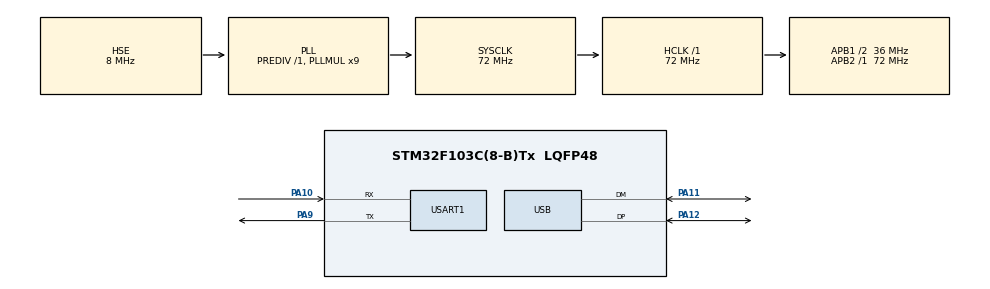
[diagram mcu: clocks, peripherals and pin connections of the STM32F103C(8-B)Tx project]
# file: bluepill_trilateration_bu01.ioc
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FREERTOS.Tasks01=trilat_task,24,256,start_trilat_task,Default,NULL,Dynamic,NULL,NULL;dist_task,24,256,start_dist_task,Default,NULL,Dynamic,NULL,NULL
Mcu.Family=STM32F1
Mcu.Name=STM32F103C(8-B)Tx
Mcu.Package=LQFP48
NVIC.PriorityGroup=NVIC_PRIORITYGROUP_4
NVIC.TIM1_UP_IRQn=true\:15\:0\:false\:false\:true\:false\:false\:true\:true
NVIC.TimeBase=TIM1_UP_IRQn
NVIC.TimeBaseIP=TIM1
NVIC.USART1_IRQn=true\:5\:0\:false\:false\:true\:true\:true\:true\:true
NVIC.USB_LP_CAN1_RX0_IRQn=true\:5\:0\:false\:false\:true\:true\:false\:true\:true
PA10.Mode=Asynchronous
PA10.Signal=USART1_RX
PA11.Mode=Device
PA11.Signal=USB_DM
PA12.Mode=Device
PA12.Signal=USB_DP
PA13.Mode=Serial_Wire
PA13.Signal=SYS_JTMS-SWDIO
PA14.Mode=Serial_Wire
PA14.Signal=SYS_JTCK-SWCLK
PA9.Mode=Asynchronous
PA9.Signal=USART1_TX
PD0-OSC_IN.Mode=HSE-External-Oscillator
PD0-OSC_IN.Signal=RCC_OSC_IN
PD1-OSC_OUT.Mode=HSE-External-Oscillator
PD1-OSC_OUT.Signal=RCC_OSC_OUT
ProjectManager.HeapSize=0x200
ProjectManager.StackSize=0x400
ProjectManager.TargetToolchain=CMake
RCC.AHBFreq_Value=72000000
RCC.APB1CLKDivider=RCC_HCLK_DIV2
RCC.APB1Freq_Value=36000000
RCC.APB1TimFreq_Value=72000000
RCC.APB2Freq_Value=72000000
RCC.APB2TimFreq_Value=72000000
RCC.HCLKFreq_Value=72000000
RCC.PLLMUL=RCC_PLL_MUL9
RCC.PLLSourceVirtual=RCC_PLLSOURCE_HSE
RCC.SYSCLKFreq_VALUE=72000000
RCC.SYSCLKSource=RCC_SYSCLKSOURCE_PLLCLK
RCC.USBFreq_Value=48000000
RCC.USBPrescaler=RCC_USBCLKSOURCE_PLL_DIV1_5
USART1.VirtualMode=VM_ASYNC
USB_DEVICE.CLASS_NAME_FS=CDC
USB_DEVICE.VirtualMode=Cdc
USB_DEVICE.VirtualModeFS=Cdc_FS
VP_FREERTOS_VS_CMSIS_V2.Mode=CMSIS_V2
VP_SYS_VS_tim1.Mode=TIM1
VP_USB_DEVICE_VS_USB_DEVICE_CDC_FS.Mode=CDC_FS
board=custom

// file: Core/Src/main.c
/* USER CODE BEGIN Header */
/**
  ******************************************************************************
  * @file           : main.c
  * @brief          : Main program body
  ******************************************************************************
  * @attention
  *
  * Copyright (c) 2025 STMicroelectronics.
  * All rights reserved.
  *
  * This software is licensed under terms that can be found in the LICENSE file
  * in the root directory of this software component.
  * If no LICENSE file comes with this software, it is provided AS-IS.
  *
  ******************************************************************************
  */
/* USER CODE END Header */
#include "main.h"
#include "cmsis_os.h"
#include "usb_device.h"

/* USER CODE BEGIN Includes */
#include <math.h>
#include "usbd_cdc_if.h"
#include "ring-buff-bg.h"
/* USER CODE END Includes */

/* USER CODE BEGIN PD */
#define RING_BUFF_LEN 50
// Координаты якорей
//       X      Y      Z
// [AN1] 0      0      0
// [AN2] AN2_X  0      0
// [AN1] 0      AN3_Y  0

// Проверочные данные:
// #define AN2_X 100
// #define AN3_Y 100
// double dist[] = {100, 90, 80};
// Результат:
// [x: 59]  [y: 68]  [z: 43]
#define AN2_X 150
#define AN3_Y 150
/* USER CODE END PD */

UART_HandleTypeDef huart1;

/* Definitions for trilat_task */
osThreadId_t trilat_taskHandle;
const osThreadAttr_t trilat_task_attributes = {
  .name = "trilat_task",
  .stack_size = 256 * 4,
  .priority = (osPriority_t) osPriorityNormal,
};
/* Definitions for dist_task */
osThreadId_t dist_taskHandle;
const osThreadAttr_t dist_task_attributes = {
  .name = "dist_task",
  .stack_size = 256 * 4,
  .priority = (osPriority_t) osPriorityNormal,
};
/* USER CODE BEGIN PV */
uint8_t ring_buff_array [RING_BUFF_LEN];
ring_buff_t uart_rx_buff;
int32_t dist[] = {0, 0, 0}; // Расстояние до якорей, максимальный ID: 3

/* USER CODE END PV */

void SystemClock_Config(void);
static void MX_GPIO_Init(void);
static void MX_USART1_UART_Init(void);
void start_trilat_task(void *argument);
void start_dist_task(void *argument);

int main(void)
{

  /* MCU Configuration--------------------------------------------------------*/

  /* Reset of all peripherals, Initializes the Flash interface and the Systick. */
  HAL_Init();

  /* Configure the system clock */
  SystemClock_Config();

  /* Initialize all configured peripherals */
  MX_GPIO_Init();
  MX_USART1_UART_Init();

  /* Init scheduler */
  osKernelInitialize();

  /* Create the thread(s) */
  /* creation of trilat_task */
  trilat_taskHandle = osThreadNew(start_trilat_task, NULL, &trilat_task_attributes);

  /* creation of dist_task */
  dist_taskHandle = osThreadNew(start_dist_task, NULL, &dist_task_attributes);

  /* Start scheduler */
  osKernelStart();

  /* We should never get here as control is now taken by the scheduler */

  /* Infinite loop */
  while (1)
  {

  }
}

void SystemClock_Config(void)
{
  RCC_OscInitTypeDef RCC_OscInitStruct = {0};
  RCC_ClkInitTypeDef RCC_ClkInitStruct = {0};
  RCC_PeriphCLKInitTypeDef PeriphClkInit = {0};

  /** Initializes the RCC Oscillators according to the specified parameters
  * in the RCC_OscInitTypeDef structure.
  */
  RCC_OscInitStruct.OscillatorType = RCC_OSCILLATORTYPE_HSE;
  RCC_OscInitStruct.HSEState = RCC_HSE_ON;
  RCC_OscInitStruct.HSEPredivValue = RCC_HSE_PREDIV_DIV1;
  RCC_OscInitStruct.HSIState = RCC_HSI_ON;
  RCC_OscInitStruct.PLL.PLLState = RCC_PLL_ON;
  RCC_OscInitStruct.PLL.PLLSource = RCC_PLLSOURCE_HSE;
  RCC_OscInitStruct.PLL.PLLMUL = RCC_PLL_MUL9;
  if (HAL_RCC_OscConfig(&RCC_OscInitStruct) != HAL_OK)
  {
    Error_Handler();
  }

  /** Initializes the CPU, AHB and APB buses clocks
  */
  RCC_ClkInitStruct.ClockType = RCC_CLOCKTYPE_HCLK|RCC_CLOCKTYPE_SYSCLK
                              |RCC_CLOCKTYPE_PCLK1|RCC_CLOCKTYPE_PCLK2;
  RCC_ClkInitStruct.SYSCLKSource = RCC_SYSCLKSOURCE_PLLCLK;
  RCC_ClkInitStruct.AHBCLKDivider = RCC_SYSCLK_DIV1;
  RCC_ClkInitStruct.APB1CLKDivider = RCC_HCLK_DIV2;
  RCC_ClkInitStruct.APB2CLKDivider = RCC_HCLK_DIV1;

  if (HAL_RCC_ClockConfig(&RCC_ClkInitStruct, FLASH_LATENCY_2) != HAL_OK)
  {
    Error_Handler();
  }
  PeriphClkInit.PeriphClockSelection = RCC_PERIPHCLK_USB;
  PeriphClkInit.UsbClockSelection = RCC_USBCLKSOURCE_PLL_DIV1_5;
  if (HAL_RCCEx_PeriphCLKConfig(&PeriphClkInit) != HAL_OK)
  {
    Error_Handler();
  }
}

static void MX_USART1_UART_Init(void)
{

  huart1.Instance = USART1;
  huart1.Init.BaudRate = 115200;
  huart1.Init.WordLength = UART_WORDLENGTH_8B;
  huart1.Init.StopBits = UART_STOPBITS_1;
  huart1.Init.Parity = UART_PARITY_NONE;
  huart1.Init.Mode = UART_MODE_TX_RX;
  huart1.Init.HwFlowCtl = UART_HWCONTROL_NONE;
  huart1.Init.OverSampling = UART_OVERSAMPLING_16;
  if (HAL_UART_Init(&huart1) != HAL_OK)
  {
    Error_Handler();
  }

}

static void MX_GPIO_Init(void)
{

  /* GPIO Ports Clock Enable */
  __HAL_RCC_GPIOD_CLK_ENABLE();
  __HAL_RCC_GPIOA_CLK_ENABLE();

}

/* USER CODE BEGIN 4 */
void HAL_UART_RxCpltCallback(UART_HandleTypeDef *huart)
{
  if (huart == &huart1)
  {
    ring_buff_move_head(&uart_rx_buff, 1);
    HAL_UART_Receive_IT(&huart1, &uart_rx_buff.buff[uart_rx_buff.head], 1);
  }
}
/* USER CODE END 4 */

void start_trilat_task(void *argument)
{
  /* init code for USB_DEVICE */
  MX_USB_DEVICE_Init();
  /* USER CODE BEGIN 5 */
  //vTaskDelay(pdMS_TO_TICKS(15000));
  TickType_t loop_period = pdMS_TO_TICKS(1000);
  TickType_t loop_last_time = 0;
  /* Infinite loop */
  for(;;)
  {
    int32_t save_dist[] = {dist[0], dist[1], dist[2]};
    uint8_t usb_tx_buff[RING_BUFF_LEN];
    size_t usb_tx_size = snprintf((char *)usb_tx_buff, RING_BUFF_LEN, "an: %d\n", AN2_X);
    CDC_Transmit_FS(usb_tx_buff, usb_tx_size);
    vTaskDelay(pdMS_TO_TICKS(50));
    // Вывод расстояний
    usb_tx_size = snprintf((char *)usb_tx_buff, RING_BUFF_LEN, "a1:%4d\na2:%4d\na3:%4d\n",
                           save_dist[0], save_dist[1], save_dist[2]);
    CDC_Transmit_FS(usb_tx_buff, usb_tx_size);
    vTaskDelay(pdMS_TO_TICKS(50));
    // Вывод координат
    int32_t coord_x = (int32_t)((double)(save_dist[0] * save_dist[0] - save_dist[1] * save_dist[1] + AN2_X * AN2_X) / (AN2_X * 2));
    int32_t coord_y = (int32_t)((double)(save_dist[0] * save_dist[0] - save_dist[2] * save_dist[2] + AN3_Y * AN3_Y) / (AN3_Y * 2));
    int32_t coord_z = save_dist[0] * save_dist[0] - coord_x * coord_x - coord_y * coord_y;
    if (coord_z < 0) {
      CDC_Transmit_FS((uint8_t *)&"The solution is impossible\n\n", 28);
    } else {
      coord_z = (int32_t)(sqrt((double)coord_z));
      usb_tx_size = snprintf((char *)usb_tx_buff, RING_BUFF_LEN, "[x:%4d] [y:%4d] [z:%4d]\n\n",
                             coord_x, coord_y, coord_z);
      CDC_Transmit_FS(usb_tx_buff, usb_tx_size);
    }
    vTaskDelayUntil(&loop_last_time, loop_period);
  }
  /* USER CODE END 5 */
}

void start_dist_task(void *argument)
{
  /* USER CODE BEGIN start_dist_task */
  ring_buff_init(&uart_rx_buff, ring_buff_array, RING_BUFF_LEN);
  HAL_UART_Receive_IT(&huart1, uart_rx_buff.buff, 1);

  vTaskDelay(pdMS_TO_TICKS(10500));
  // HAL_UART_Transmit(&huart1, (uint8_t *)&"AT+RST\r\n", 8, 500);
  // vTaskDelay(pdMS_TO_TICKS(2000));
  HAL_UART_Transmit(&huart1, (uint8_t *)&"AT+switchdis=1\r\n", 16, 500);

  uint8_t ant_num = 0;
  double ant_dist = 0;

  TickType_t loop_period = pdMS_TO_TICKS(500);
  TickType_t loop_last_time = 0;
  /* Infinite loop */
  for(;;)
  {
    uint8_t one_str_buff[RING_BUFF_LEN];
    // Выделям одну строку
    for (size_t i = 0; i < RING_BUFF_LEN; i++) {
      // Дожидаемся данных
      while (!ring_buff_get(&uart_rx_buff, &one_str_buff[i], 1)) {
        vTaskDelay(pdMS_TO_TICKS(50));
      }
      if (one_str_buff[i] == '\n') {
        break;
      }
    }
    // Проверяем, что это строка с дистанцией
    if (one_str_buff[0] == 'a' && one_str_buff[1] == 'n' && one_str_buff[3] == ':') {
      ant_num = one_str_buff[2] - 48;
      if (ant_num && ant_num <= 3) { // Проверяем что ID якоря в диапазоне [1;3]
        // ПОЛУЧЕНИЕ РАССТОЯНИЯ
        ant_dist = 0;
        uint8_t get_int = 1;
        double dec_mult = 0.1;
        for (uint8_t i = 4; i < 10; i++) {
          if (one_str_buff[i] >= '0' &&  one_str_buff[i] <= '9') {
            if (get_int) {
              ant_dist = ant_dist * 10 + (one_str_buff[i] - 48);
            } else {
              ant_dist += (one_str_buff[i] - 48) * dec_mult;
              dec_mult *= 0.1;
            }
          } else if (one_str_buff[i] == '.') {
            get_int = 0;
          } else {
            break;
          }
        }
        // Не помещается
        // UPD Если собирать не Debug а Release, то помещается,
        // но все равно занимает много места
        // ant_dist = atof(&one_str_buff[4]);
        if (ant_dist) {
          dist[ant_num - 1] = ant_dist * 100;
        }
      }
    }
    vTaskDelayUntil(&loop_last_time, loop_period);
  }
  /* USER CODE END start_dist_task */
}

void HAL_TIM_PeriodElapsedCallback(TIM_HandleTypeDef *htim)
{
  if (htim->Instance == TIM1)
  {
    HAL_IncTick();
  }
}

void Error_Handler(void)
{
  __disable_irq();
  while (1)
  {
  }
}
